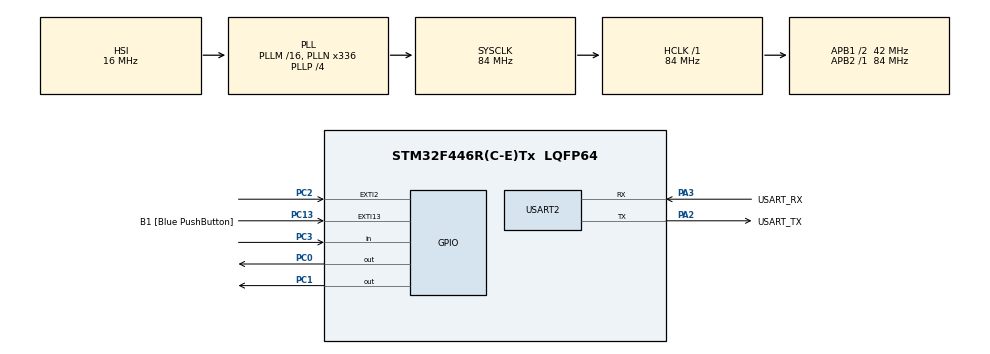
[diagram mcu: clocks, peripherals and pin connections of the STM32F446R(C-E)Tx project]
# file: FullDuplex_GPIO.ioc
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Mcu.Family=STM32F4
Mcu.Name=STM32F446R(C-E)Tx
Mcu.Package=LQFP64
NVIC.EXTI2_IRQn=true\:0\:0\:false\:false\:true\:true\:true\:true
NVIC.PriorityGroup=NVIC_PRIORITYGROUP_0
PA13.GPIO_Label=TMS
PA13.Mode=Serial_Wire
PA13.Signal=SYS_JTMS-SWDIO
PA14.GPIO_Label=TCK
PA14.Mode=Serial_Wire
PA14.Signal=SYS_JTCK-SWCLK
PA2.GPIO_Label=USART_TX
PA2.Mode=Asynchronous
PA2.Signal=USART2_TX
PA3.GPIO_Label=USART_RX
PA3.Mode=Asynchronous
PA3.Signal=USART2_RX
PB3.GPIO_Label=SWO
PB3.Signal=SYS_JTDO-SWO
PC0.Signal=GPIO_Output
PC1.Signal=GPIO_Output
PC13.GPIO_Label=B1 [Blue PushButton]
PC13.GPIO_ModeDefaultEXTI=GPIO_MODE_IT_FALLING
PC13.Signal=GPXTI13
PC14-OSC32_IN.Mode=LSE-External-Oscillator
PC14-OSC32_IN.Signal=RCC_OSC32_IN
PC15-OSC32_OUT.Mode=LSE-External-Oscillator
PC15-OSC32_OUT.Signal=RCC_OSC32_OUT
PC2.Signal=GPXTI2
PC3.Signal=GPIO_Input
PH0-OSC_IN.Mode=HSE-External-Oscillator
PH0-OSC_IN.Signal=RCC_OSC_IN
PH1-OSC_OUT.Mode=HSE-External-Oscillator
PH1-OSC_OUT.Signal=RCC_OSC_OUT
ProjectManager.HeapSize=0x200
ProjectManager.StackSize=0x400
ProjectManager.TargetToolchain=STM32CubeIDE
RCC.48MHZClocksFreq_Value=84000000
RCC.AHBFreq_Value=84000000
RCC.APB1CLKDivider=RCC_HCLK_DIV2
RCC.APB1Freq_Value=42000000
RCC.APB1TimFreq_Value=84000000
RCC.APB2Freq_Value=84000000
RCC.APB2TimFreq_Value=84000000
RCC.CortexFreq_Value=84000000
RCC.FLatency-AdvancedSettings=FLASH_LATENCY_2
RCC.HCLKFreq_Value=84000000
RCC.HSE_VALUE=8000000
RCC.HSI_VALUE=16000000
RCC.PLLN=336
RCC.PLLP=RCC_PLLP_DIV4
RCC.SYSCLKFreq_VALUE=84000000
RCC.SYSCLKSource=RCC_SYSCLKSOURCE_PLLCLK
RCC.USBFreq_Value=168000000
RCC.VCOOutputFreq_Value=336000000
USART2.VirtualMode=VM_ASYNC
board=NUCLEO-F446RE

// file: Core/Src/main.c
/* USER CODE BEGIN Header */
/**
  ******************************************************************************
  * @file           : main.c
  * @brief          : Main program body
  ******************************************************************************
  * @attention
  *
  * Copyright (c) 2026 STMicroelectronics.
  * All rights reserved.
  *
  * This software is licensed under terms that can be found in the LICENSE file
  * in the root directory of this software component.
  * If no LICENSE file comes with this software, it is provided AS-IS.
  *
  ******************************************************************************
  */
/* USER CODE END Header */
#include "main.h"

/* USER CODE BEGIN Includes */
#include <stdio.h>
/* USER CODE END Includes */

UART_HandleTypeDef huart2;

/* USER CODE BEGIN PV */

// Armazena o byte que está sendo montado bit a bit
volatile uint8_t byte_recebido = 0;

// Conta quantos bits já chegaram (de 0 a 7)
volatile uint8_t contador_bits = 0;

// Sinaliza para o main que um novo byte foi montado
volatile uint8_t mensagem_pronta = 0;

// Flag de confirmacao de handshake (recebeu 0xAA)
volatile uint8_t ack_recebido = 0;

/* USER CODE END PV */

void SystemClock_Config(void);
static void MX_GPIO_Init(void);
static void MX_USART2_UART_Init(void);

/* USER CODE BEGIN 0 */

// Função que envia 8 bits usando Bit-Banging síncrono
void Transmitir_Byte_Sincrono(uint8_t dado) {
    for(int i = 0; i < 8; i++) {
        // 1. Aplica o bit atual no pino de Dados (PC1)
        if (dado & (1 << i)) {
            HAL_GPIO_WritePin(GPIOC, GPIO_PIN_1, GPIO_PIN_SET);
        } else {
            HAL_GPIO_WritePin(GPIOC, GPIO_PIN_1, GPIO_PIN_RESET);
        }
        HAL_Delay(1); // Tempo para estabilizar o sinal (Setup Time)

        // 2. Cria o pulso de Clock (PC0) para o receptor ler o bit
        HAL_GPIO_WritePin(GPIOC, GPIO_PIN_0, GPIO_PIN_SET);
        HAL_Delay(1);

        // 3. Desce o sinal de Clock para finalizar o ciclo do bit
        HAL_GPIO_WritePin(GPIOC, GPIO_PIN_0, GPIO_PIN_RESET);
        HAL_Delay(1);
    }
}

// Função de espera que permite processar dados recebidos sem travar o código
void Delay_e_Escuta(uint32_t tempo_ms) {
	uint32_t inicio = HAL_GetTick();

	// Delay nao-bloqueante baseado no SysTick
	while((HAL_GetTick() - inicio) < tempo_ms) {

		// Se a interrupção avisar que chegou um dado, imprime no console
        if(mensagem_pronta == 1) {
            // Remove o 8º bit (máscara 0x7F) para mostrar o valor original (0-100)
            uint8_t valor_final = byte_recebido & 0x7F;
            printf("Recebido do outro modulo: %d\r\n", valor_final);

            mensagem_pronta = 0; // Reseta a flag para a próxima recepção
        }
    }
}
/* USER CODE END 0 */

int main(void)
{

  /* MCU Configuration--------------------------------------------------------*/

  /* Reset of all peripherals, Initializes the Flash interface and the Systick. */
  HAL_Init();

  /* Configure the system clock */
  SystemClock_Config();

  /* Initialize all configured peripherals */
  MX_GPIO_Init();
  MX_USART2_UART_Init();

  /* Infinite loop */
  /* USER CODE BEGIN WHILE */
  while (1)
  {
	  printf("\r\n--- INICIANDO TRANSMISSAO FULL-DUPLEX COM HANDSHAKE ---\r\n");

	  // Inicia o envio do array de 0 a 100
	  for(int i = 0; i <= 100; i++) {

		  // Prepara o dado garantindo o padrão de 8 bits (bit 7 sempre em 1)
		  uint8_t valor_para_enviar = (uint8_t)i | 0x80;

		  ack_recebido = 0; // Limpa a flag para esperar a confirmação deste novo dado
		  Transmitir_Byte_Sincrono(valor_para_enviar);

		  // Timeout de 1000ms aguardando o ACK
		  uint32_t tempo_inicio = HAL_GetTick();

		  while(ack_recebido == 0 && (HAL_GetTick() - tempo_inicio) < 1000) {

			  // Processa recebimentos concorrentes para nao travar o full-duplex
			  if(mensagem_pronta == 1) {
				  uint8_t valor_final = byte_recebido & 0x7F; // Remove máscara para exibir 0-100
				  printf(" [->] Recebido da outra placa: %d\r\n", valor_final);
				  mensagem_pronta = 0;

				  // Envia o ACK (0xAA) imediatamente para confirmar que recebi o dado DELA
				  Transmitir_Byte_Sincrono(0xAA);
			  }
		  }

		  // Verifica se a transmissão foi bem sucedida ou se houve perda de conexão
		  if (ack_recebido == 1) {
			  printf(" [<-] Meu dado %d foi enviado com sucesso (ACK OK)\r\n", i);
		  } else {
			  printf(" [XX] Falha ao enviar o dado %d (Timeout sem ACK)\r\n", i);
		  }

		  // Pequena pausa para estabilizar a comunicação e evitar conflitos nos fios
		  Delay_e_Escuta(50);
	  }

	  // --- MODO DE ESPERA (5 segundos) ---
	  // Após enviar os 100 números, a placa apenas escuta e responde ACKs
	  uint32_t espera_longa = HAL_GetTick();
	  while((HAL_GetTick() - espera_longa) < 5000) {
		  if(mensagem_pronta == 1) {
			  uint8_t valor_final = byte_recebido & 0x7F;
			  printf(" [->] Recebido da outra placa: %d\r\n", valor_final);
			  mensagem_pronta = 0;
			  Transmitir_Byte_Sincrono(0xAA); // Responde o ACK para a outra placa
		  }
	  }

	  /* USER CODE END WHILE */

  }
}

void SystemClock_Config(void)
{
  RCC_OscInitTypeDef RCC_OscInitStruct = {0};
  RCC_ClkInitTypeDef RCC_ClkInitStruct = {0};

  /** Configure the main internal regulator output voltage
  */
  __HAL_RCC_PWR_CLK_ENABLE();
  __HAL_PWR_VOLTAGESCALING_CONFIG(PWR_REGULATOR_VOLTAGE_SCALE3);

  /** Initializes the RCC Oscillators according to the specified parameters
  * in the RCC_OscInitTypeDef structure.
  */
  RCC_OscInitStruct.OscillatorType = RCC_OSCILLATORTYPE_HSI;
  RCC_OscInitStruct.HSIState = RCC_HSI_ON;
  RCC_OscInitStruct.HSICalibrationValue = RCC_HSICALIBRATION_DEFAULT;
  RCC_OscInitStruct.PLL.PLLState = RCC_PLL_ON;
  RCC_OscInitStruct.PLL.PLLSource = RCC_PLLSOURCE_HSI;
  RCC_OscInitStruct.PLL.PLLM = 16;
  RCC_OscInitStruct.PLL.PLLN = 336;
  RCC_OscInitStruct.PLL.PLLP = RCC_PLLP_DIV4;
  RCC_OscInitStruct.PLL.PLLQ = 2;
  RCC_OscInitStruct.PLL.PLLR = 2;
  if (HAL_RCC_OscConfig(&RCC_OscInitStruct) != HAL_OK)
  {
    Error_Handler();
  }

  /** Initializes the CPU, AHB and APB buses clocks
  */
  RCC_ClkInitStruct.ClockType = RCC_CLOCKTYPE_HCLK|RCC_CLOCKTYPE_SYSCLK
                              |RCC_CLOCKTYPE_PCLK1|RCC_CLOCKTYPE_PCLK2;
  RCC_ClkInitStruct.SYSCLKSource = RCC_SYSCLKSOURCE_PLLCLK;
  RCC_ClkInitStruct.AHBCLKDivider = RCC_SYSCLK_DIV1;
  RCC_ClkInitStruct.APB1CLKDivider = RCC_HCLK_DIV2;
  RCC_ClkInitStruct.APB2CLKDivider = RCC_HCLK_DIV1;

  if (HAL_RCC_ClockConfig(&RCC_ClkInitStruct, FLASH_LATENCY_2) != HAL_OK)
  {
    Error_Handler();
  }
}

static void MX_USART2_UART_Init(void)
{

  huart2.Instance = USART2;
  huart2.Init.BaudRate = 115200;
  huart2.Init.WordLength = UART_WORDLENGTH_8B;
  huart2.Init.StopBits = UART_STOPBITS_1;
  huart2.Init.Parity = UART_PARITY_NONE;
  huart2.Init.Mode = UART_MODE_TX_RX;
  huart2.Init.HwFlowCtl = UART_HWCONTROL_NONE;
  huart2.Init.OverSampling = UART_OVERSAMPLING_16;
  if (HAL_UART_Init(&huart2) != HAL_OK)
  {
    Error_Handler();
  }

}

static void MX_GPIO_Init(void)
{
  GPIO_InitTypeDef GPIO_InitStruct = {0};

  /* GPIO Ports Clock Enable */
  __HAL_RCC_GPIOC_CLK_ENABLE();
  __HAL_RCC_GPIOH_CLK_ENABLE();
  __HAL_RCC_GPIOA_CLK_ENABLE();
  __HAL_RCC_GPIOB_CLK_ENABLE();

  /*Configure GPIO pin Output Level */
  HAL_GPIO_WritePin(GPIOC, GPIO_PIN_0|GPIO_PIN_1, GPIO_PIN_RESET);

  /*Configure GPIO pin : B1_Pin */
  GPIO_InitStruct.Pin = B1_Pin;
  GPIO_InitStruct.Mode = GPIO_MODE_IT_FALLING;
  GPIO_InitStruct.Pull = GPIO_NOPULL;
  HAL_GPIO_Init(B1_GPIO_Port, &GPIO_InitStruct);

  /*Configure GPIO pins : PC0 PC1 */
  GPIO_InitStruct.Pin = GPIO_PIN_0|GPIO_PIN_1;
  GPIO_InitStruct.Mode = GPIO_MODE_OUTPUT_PP;
  GPIO_InitStruct.Pull = GPIO_NOPULL;
  GPIO_InitStruct.Speed = GPIO_SPEED_FREQ_LOW;
  HAL_GPIO_Init(GPIOC, &GPIO_InitStruct);

  /*Configure GPIO pin : PC2 */
  GPIO_InitStruct.Pin = GPIO_PIN_2;
  GPIO_InitStruct.Mode = GPIO_MODE_IT_RISING;
  GPIO_InitStruct.Pull = GPIO_NOPULL;
  HAL_GPIO_Init(GPIOC, &GPIO_InitStruct);

  /*Configure GPIO pin : PC3 */
  GPIO_InitStruct.Pin = GPIO_PIN_3;
  GPIO_InitStruct.Mode = GPIO_MODE_INPUT;
  GPIO_InitStruct.Pull = GPIO_NOPULL;
  HAL_GPIO_Init(GPIOC, &GPIO_InitStruct);

  /* EXTI interrupt init*/
  HAL_NVIC_SetPriority(EXTI2_IRQn, 0, 0);
  HAL_NVIC_EnableIRQ(EXTI2_IRQn);

}

/* USER CODE BEGIN 4 */
int __io_putchar(int ch) {
    HAL_UART_Transmit(&huart2, (uint8_t *)&ch, 1, HAL_MAX_DELAY);
    return ch;
}

void HAL_GPIO_EXTI_Callback(uint16_t GPIO_Pin)
{
    static uint32_t ultimo_tempo = 0;
    uint32_t tempo_atual = HAL_GetTick();

    if(GPIO_Pin == GPIO_PIN_2) { // Monitorando o Clock de entrada (PC2)

        if ((tempo_atual - ultimo_tempo) > 50) {
            contador_bits = 0;
            byte_recebido = 0;
        }
        ultimo_tempo = tempo_atual;

        GPIO_PinState estado_dado = HAL_GPIO_ReadPin(GPIOC, GPIO_PIN_3);

        if(estado_dado == GPIO_PIN_SET) {
            byte_recebido |= (1 << contador_bits);
        } else {
            byte_recebido &= ~(1 << contador_bits);
        }

        contador_bits++;

        if(contador_bits >= 8) {
        	// Verifica se o byte eh o sinal de ACK ou um dado de telemetria
            if (byte_recebido == 0xAA) {
                ack_recebido = 1; // Recebeu o "HandShake"
            } else {
                mensagem_pronta = 1; // Recebeu um número novo
            }
            contador_bits = 0;
        }
    }
}
/* USER CODE END 4 */

void Error_Handler(void)
{
  __disable_irq();
  while (1)
  {
  }
}
